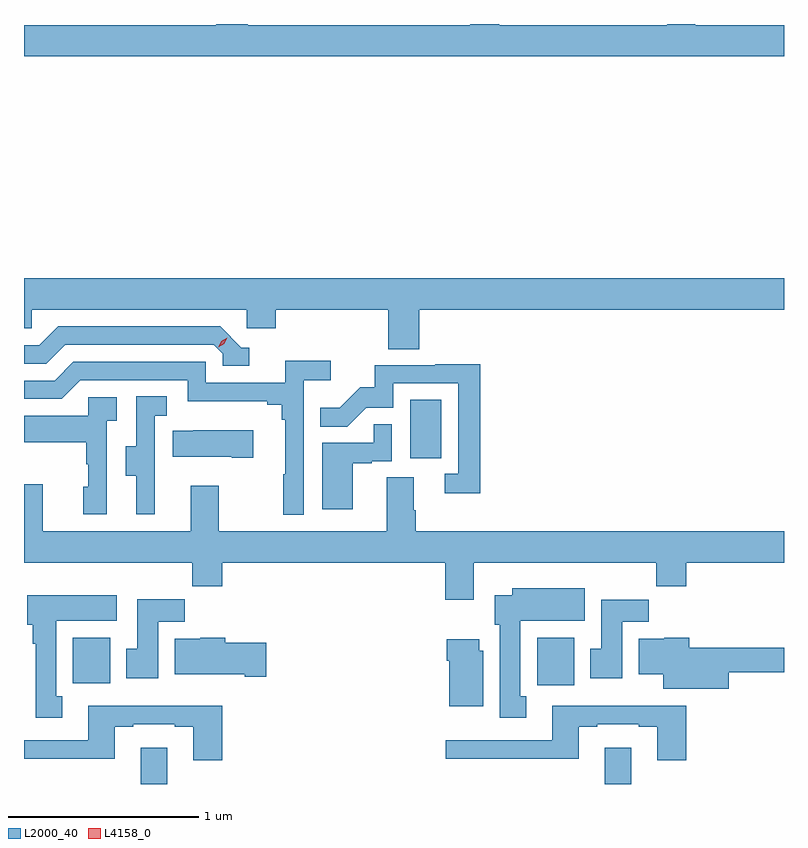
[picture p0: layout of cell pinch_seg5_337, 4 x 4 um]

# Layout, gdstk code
import gdstk
lib = gdstk.Library(unit=1e-6, precision=1e-09)
def R(c, l, rs):  # rectangles x0, y0, x1, y1
    for r in rs: c.add(gdstk.rectangle(r[:2], r[2:], *l))
def P(c, l, *ps):  # polygons
    for p in ps: c.add(gdstk.Polygon(p, *l))
L2000_40 = (2000, 40)
L4158_0 = (4158, 0)

pinch_seg5_337 = lib.new_cell('pinch_seg5_337')
R(pinch_seg5_337, L2000_40, [(999.773,884.899,999.913,885.091), (1002.215,884.899,1002.355,885.091), (1001.859,885.42,1002.055,885.67), (999.416,885.428,999.613,885.67), (1001.192,886.614,1001.356,886.921)])
P(pinch_seg5_337, L2000_40, [(1003.159,888.892),(1002.691,888.892),(1002.691,888.899),(1002.544,888.899),(1002.544,888.892),(1001.659,888.892),(1001.659,888.899),(1001.507,888.899),(1001.507,888.892),(1000.336,888.892),(1000.336,888.899),(1000.172,888.899),(1000.172,888.892),(999.159,888.892),(999.159,888.728),(1003.159,888.728)],
  [(1001.24,887.396),(1003.159,887.396),(1003.159,887.56),(999.159,887.56),(999.159,887.298),(999.201,887.298),(999.201,887.396),(1000.332,887.396),(1000.332,887.298),(1000.484,887.298),(1000.484,887.396),(1001.075,887.396),(1001.075,887.188),(1001.24,887.188)],
  [(1000.345,887.196),(1000.302,887.196),(1000.191,887.307),(999.338,887.307),(999.239,887.208),(999.159,887.208),(999.159,887.112),(999.276,887.112),(999.375,887.211),(1000.158,887.211),(1000.206,887.163),(1000.206,887.1),(1000.345,887.1)],
  [(1000.632,887.024),(1000.774,887.024),(1000.774,887.126),(1000.535,887.126),(1000.535,887.01),(1000.116,887.01),(1000.116,887.121),(999.419,887.121),(999.32,887.022),(999.159,887.022),(999.159,886.926),(999.357,886.926),(999.456,887.025),(1000.02,887.025),(1000.02,886.913),(1000.439,886.913),(1000.439,886.894),(1000.516,886.894),(1000.516,886.817),(1000.535,886.817),(1000.535,886.529),(1000.524,886.529),(1000.524,886.317),(1000.632,886.317)],
  [(1001.561,887.108),(1001.323,887.108),(1001.323,887.103),(1001.005,887.103),(1001.005,886.986),(1000.928,886.986),(1000.821,886.879),(1000.717,886.879),(1000.717,886.78),(1000.861,886.78),(1000.959,886.878),(1001.103,886.878),(1001.103,887.007),(1001.445,887.007),(1001.445,886.533),(1001.373,886.533),(1001.373,886.428),(1001.561,886.428)],
  [(999.848,886.533),(999.846,886.533),(999.846,886.837),(999.91,886.837),(999.91,886.94),(999.75,886.94),(999.75,886.677),(999.695,886.677),(999.695,886.522),(999.749,886.522),(999.749,886.32),(999.848,886.32)],
  [(999.594,886.811),(999.646,886.811),(999.646,886.935),(999.498,886.935),(999.498,886.837),(999.159,886.837),(999.159,886.697),(999.486,886.697),(999.486,886.583),(999.496,886.583),(999.496,886.464),(999.47,886.464),(999.47,886.32),(999.594,886.32)],
  [(1000.888,886.587),(1000.988,886.587),(1000.988,886.599),(1001.094,886.599),(1001.094,886.793),(1000.999,886.793),(1000.999,886.695),(1000.73,886.695),(1000.73,886.344),(1000.888,886.344)],
  [(1000.366,886.762),(1000.051,886.762),(1000.051,886.759),(999.943,886.759),(999.943,886.622),(1000.253,886.622),(1000.253,886.615),(1000.366,886.615)],
  [(1000.045,885.94),(1000.202,885.94),(1000.202,886.064),(1001.375,886.064),(1001.375,885.87),(1001.527,885.87),(1001.527,886.064),(1002.487,886.064),(1002.487,885.94),(1002.644,885.94),(1002.644,886.064),(1003.159,886.064),(1003.159,886.228),(1001.222,886.228),(1001.222,886.34),(1001.209,886.34),(1001.209,886.514),(1001.069,886.514),(1001.069,886.228),(1000.185,886.228),(1000.185,886.468),(1000.037,886.468),(1000.037,886.228),(999.257,886.228),(999.257,886.477),(999.159,886.477),(999.159,886.064),(1000.045,886.064)],
  [(1001.803,885.361),(1001.77,885.361),(1001.77,885.758),(1002.109,885.758),(1002.109,885.928),(1001.729,885.928),(1001.729,885.892),(1001.636,885.892),(1001.636,885.738),(1001.663,885.738),(1001.663,885.249),(1001.803,885.249)],
  [(999.361,885.362),(999.328,885.362),(999.328,885.758),(999.646,885.758),(999.646,885.892),(999.176,885.892),(999.176,885.738),(999.206,885.738),(999.206,885.638),(999.221,885.638),(999.221,885.249),(999.361,885.249)],
  [(999.865,885.752),(1000.004,885.752),(1000.004,885.871),(999.755,885.871),(999.755,885.612),(999.698,885.612),(999.698,885.456),(999.865,885.456)],
  [(1002.307,885.752),(1002.446,885.752),(1002.446,885.87),(1002.197,885.87),(1002.197,885.612),(1002.14,885.612),(1002.14,885.456),(1002.307,885.456)],
  [(1000.435,885.642),(1000.217,885.642),(1000.217,885.67),(1000.086,885.67),(1000.086,885.664),(999.953,885.664),(999.953,885.476),(1000.322,885.476),(1000.322,885.464),(1000.435,885.464)],
  [(1002.868,885.487),(1003.159,885.487),(1003.159,885.616),(1002.659,885.616),(1002.659,885.67),(1002.528,885.67),(1002.528,885.664),(1002.395,885.664),(1002.395,885.476),(1002.524,885.476),(1002.524,885.401),(1002.868,885.401)],
  [(1001.575,885.6),(1001.554,885.6),(1001.554,885.661),(1001.384,885.661),(1001.384,885.548),(1001.396,885.548),(1001.396,885.308),(1001.575,885.308)],
  [(1000.202,885.31),(999.497,885.31),(999.497,885.129),(999.159,885.129),(999.159,885.032),(999.637,885.032),(999.637,885.201),(999.733,885.201),(999.733,885.213),(999.953,885.213),(999.953,885.201),(1000.049,885.201),(1000.049,885.024),(1000.202,885.024)],
  [(1002.644,885.31),(1001.939,885.31),(1001.939,885.129),(1001.379,885.129),(1001.379,885.032),(1002.079,885.032),(1002.079,885.201),(1002.175,885.201),(1002.175,885.213),(1002.395,885.213),(1002.395,885.201),(1002.491,885.201),(1002.491,885.024),(1002.644,885.024)])
P(pinch_seg5_337, L4158_0, [(1000.182,887.197),(1000.182,887.198),(1000.198,887.23),(1000.229,887.249),(1000.229,887.249),(1000.229,887.249),(1000.213,887.216),(1000.182,887.197)])

lib.write_gds('pinch_seg5_337.gds')
